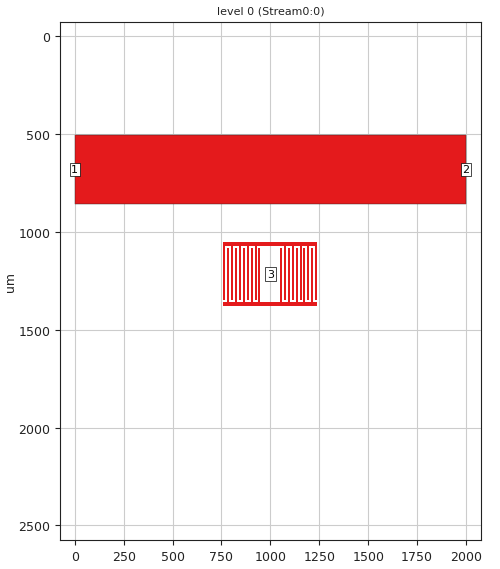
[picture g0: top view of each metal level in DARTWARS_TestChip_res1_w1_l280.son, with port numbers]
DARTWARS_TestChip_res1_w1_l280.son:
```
FTYP SONPROJ 19 ! Sonnet Project File
VER 18.52
HEADER
LIC nist5.1.52437
DAT 06/29/2023 18:12:54
BUILT_BY_CREATED gds 18.52 07/26/2022 10:51:37
BUILT_BY_SAVED sonnet 18.52
MDATE 06/23/2023 15:04:51
HDATE 06/23/2023 15:04:51
END HEADER
DIM
ANG DEG
CAP PF
CON /OH
FREQ GHZ
IND NH
LNG UM
RES OH
END DIM
CONTROL
VARSWP
OPTIONS  -d
SPEED 0
CACHE_ABS 2
Q_ACC N
END CONTROL
GEO
TMET "Lossless" 0 SUP 0 0 0 0
BMET "Lossless" 0 SUP 0 0 0 0
MET "NbTiN" 1 SUP 0 0 0 "Lk"
BOX 1 2000 2500 4000 5000 20 0
      1000 1 1 0 0 0 0 "Air"
      525 11.9 1 0 0 0 0 "Si"
TECHLAY METAL Stream0:0 <UNSPECIFIED> 0 0 
0 0 0 N 293 1 1 100 100 0 0 0 Y
END
END
VALVAR Lk NONE 8.5 "Kinetic Inductance"
VALVAR L LNG 295 "Dim. Param."
VALVAR D2 LNG "(l+10)/2" "Dim. Param. D2"
VALVAR D1 LNG "(l+10)/2" "Dim. Param. D1"
VALVAR l LNG 280 "Dim. Param."
DIM STD XDIR 1
POS 1767.313907 -98.82525393
NOM 2000
REF1 POLY 105 1
1
REF2 POLY 105 1
2
END
DIM STD XDIR 1
POS 50.49967037 -33.50485895
NOM 50
REF1 POLY 187 1
0
REF2 POLY 256 1
1
END
DIM STD XDIR 1
POS 46.49514105 -23.69284083
NOM 49
REF1 POLY 256 1
0
REF2 POLY 244 1
19
END
DIM STD YDIR -1
POS -41.66113557 -102.5713111
NOM 195
REF1 POLY 247 1
1
REF2 POLY 105 1
0
END
DIM STD XDIR 1
POS 0.9063383466 -34.96668594
NOM 1
REF1 POLY 256 1
1
REF2 POLY 256 1
0
END
LORGN 0 2500 U 
POR1 BOX
POLY 105 1
0
1 50 0 0 0 0 680 
POR1 BOX
POLY 105 1
2
2 50 0 0 0 2000 680 
POR1 GAP
POLY 256 1
2
3 50 0 0 0 999.5 1215 
NUM 15
0 5 0 N 105 1 1 100 100 0 0 0 Y
TLAYNAM Stream0:0 INH
0 855
0 505
2000 505
2000 855
0 855
END
0 5 0 N 170 1 1 100 100 0 0 0 Y
TLAYNAM Stream0:0 INH
809 1070
799 1070
799 1350
809 1350
809 1070
END
0 5 0 N 172 1 1 100 100 0 0 0 Y
TLAYNAM Stream0:0 INH
849 1070
839 1070
839 1350
849 1350
849 1070
END
0 5 0 N 174 1 1 100 100 0 0 0 Y
TLAYNAM Stream0:0 INH
889 1070
879 1070
879 1350
889 1350
889 1070
END
0 5 0 N 176 1 1 100 100 0 0 0 Y
TLAYNAM Stream0:0 INH
929 1070
919 1070
919 1350
929 1350
929 1070
END
0 5 0 N 178 1 1 100 100 0 0 0 Y
TLAYNAM Stream0:0 INH
789 1080
779 1080
779 1360
789 1360
789 1080
END
0 5 0 N 181 1 1 100 100 0 0 0 Y
TLAYNAM Stream0:0 INH
829 1080
819 1080
819 1360
829 1360
829 1080
END
0 5 0 N 183 1 1 100 100 0 0 0 Y
TLAYNAM Stream0:0 INH
869 1080
859 1080
859 1360
869 1360
869 1080
END
0 5 0 N 185 1 1 100 100 0 0 0 Y
TLAYNAM Stream0:0 INH
909 1080
899 1080
899 1360
909 1360
909 1080
END
0 5 0 N 187 1 1 100 100 0 0 0 Y
TLAYNAM Stream0:0 INH
949 1080
939 1080
939 1360
949 1360
949 1080
END
0 25 0 N 244 1 1 100 100 0 0 0 Y
TLAYNAM Stream0:0 INH
1239 1360
1219 1360
1219 1080
1209 1080
1209 1360
1179 1360
1179 1080
1169 1080
1169 1360
1139 1360
1139 1080
1129 1080
1129 1360
1099 1360
1099 1080
1089 1080
1089 1360
1059 1360
1059 1080
1049 1080
1049 1360
759 1360
759 1380
1239 1380
1239 1360
END
0 23 0 N 247 1 1 100 100 0 0 0 Y
TLAYNAM Stream0:0 INH
1239 1050
759 1050
759 1070
1069 1070
1069 1350
1079 1350
1079 1070
1109 1070
1109 1350
1119 1350
1119 1070
1149 1070
1149 1350
1159 1350
1159 1070
1189 1070
1189 1350
1199 1350
1199 1070
1229 1070
1229 1350
1239 1350
1239 1050
END
0 5 0 N 249 1 1 100 100 0 0 0 Y
TLAYNAM Stream0:0 INH
769 1070
759 1070
759 1350
769 1350
769 1070
END
0 5 0 N 256 1 1 100 100 0 0 0 Y
TLAYNAM Stream0:0 INH
1000 1070
999 1070
999 1215
1000 1215
1000 1070
END
0 5 0 N 283 1 1 100 100 0 0 0 Y
TLAYNAM Stream0:0 INH
1000 1215
999 1215
999 1360
1000 1360
1000 1215
END
END GEO
OPT
MAX 100
END OPT
VARSWP
SWPVARS ON
ENABLED Y
FREQ Y AY ABS_ENTRY 0.1 10.0 -1 300 
VAR Lk Y 5.0 20.0 0.5
VAR l N 200.0 600.0 10.0
END
END VARSWP
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```
